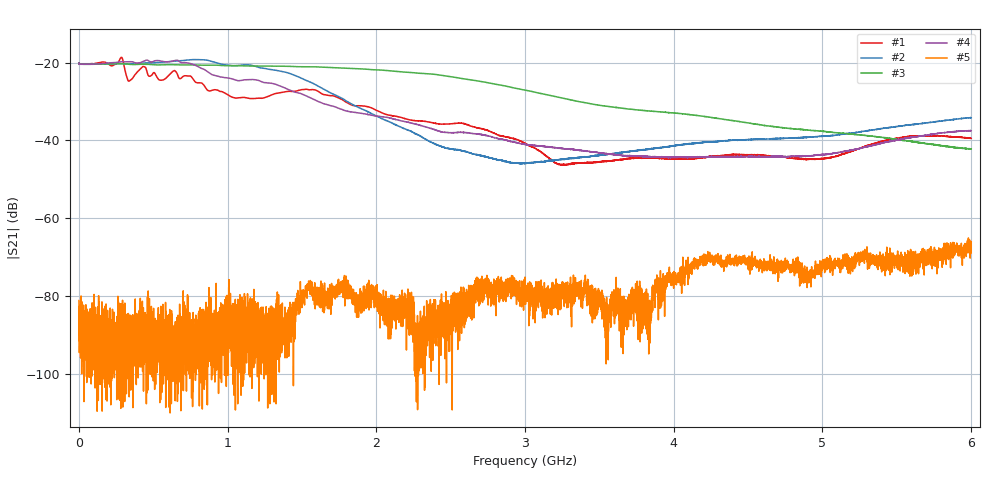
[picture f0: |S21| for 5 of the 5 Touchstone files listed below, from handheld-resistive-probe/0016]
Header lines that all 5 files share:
! Ref Plane: 0.000 mm
# MHZ S MA R  50
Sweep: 300 kHz to 6 GHz
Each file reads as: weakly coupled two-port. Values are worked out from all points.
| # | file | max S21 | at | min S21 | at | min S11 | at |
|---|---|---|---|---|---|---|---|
| 1 | flexground.s2p | -18.64 dB | 285.9 MHz | -46.3 dB | 3.244 GHz | -26.5 dB | 300 kHz |
| 2 | leafground.s2p | -19.22 dB | 792.3 MHz | -46.0 dB | 2.973 GHz | -26.5 dB | 300 kHz |
| 3 | tipground.s2p | -20.10 dB | 300 kHz | -42.2 dB | 5.999 GHz | -26.4 dB | 300 kHz |
| 4 | zground.s2p | -19.35 dB | 455.7 MHz | -44.5 dB | 4.097 GHz | -26.5 dB | 300 kHz |
| 5 | zin.s2p | -65.05 dB | 5.982 GHz | -110.0 dB | 613.5 MHz | -5.2 dB | 2.625 GHz |
